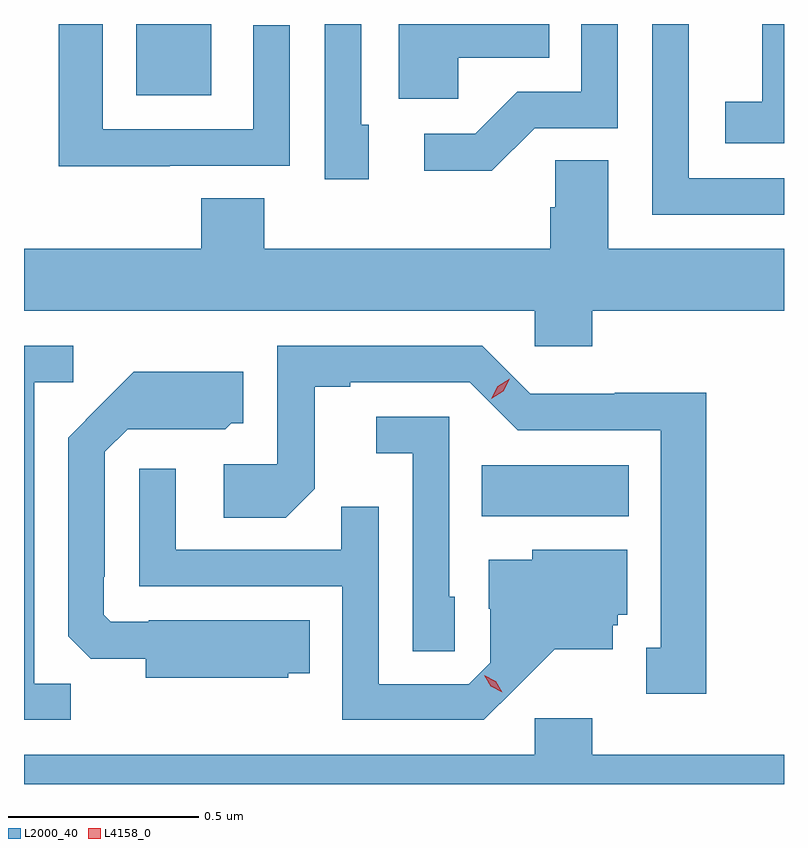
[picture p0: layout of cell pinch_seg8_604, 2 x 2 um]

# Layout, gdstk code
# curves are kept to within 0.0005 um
import gdstk
lib = gdstk.Library(unit=1e-6, precision=1e-09)
def R(c, l, rs):  # rectangles x0, y0, x1, y1
    for r in rs: c.add(gdstk.rectangle(r[:2], r[2:], *l))
def P(c, l, *ps):  # polygons
    for p in ps: c.add(gdstk.Polygon(p, *l))
L2000_40 = (2000, 40)
L4158_0 = (4158, 0)

pinch_seg8_604 = lib.new_cell('pinch_seg8_604')
R(pinch_seg8_604, L2000_40, [(144.25,1082.66,144.637,1082.794), (143.342,1083.767,143.539,1083.955)])
P(pinch_seg8_604, L2000_40, [(144.189,1083.866),(144.428,1083.866),(144.428,1083.955),(144.032,1083.955),(144.032,1083.758),(144.189,1083.758)],
  [(145.046,1083.549),(144.795,1083.549),(144.795,1083.955),(144.699,1083.955),(144.699,1083.453),(145.046,1083.453)],
  [(143.429,1083.582),(143.745,1083.582),(143.745,1083.952),(143.649,1083.952),(143.649,1083.678),(143.253,1083.678),(143.253,1083.955),(143.137,1083.955),(143.137,1083.581),(143.429,1083.581)],
  [(143.953,1083.69),(143.934,1083.69),(143.934,1083.955),(143.838,1083.955),(143.838,1083.546),(143.953,1083.546)],
  [(145.046,1083.955),(144.989,1083.955),(144.989,1083.751),(144.891,1083.751),(144.891,1083.641),(145.046,1083.641)],
  [(144.39,1083.681),(144.609,1083.681),(144.609,1083.955),(144.513,1083.955),(144.513,1083.777),(144.344,1083.777),(144.233,1083.666),(144.099,1083.666),(144.099,1083.569),(144.277,1083.569)],
  [(144.542,1083.2),(145.046,1083.2),(145.046,1083.364),(144.583,1083.364),(144.583,1083.596),(144.444,1083.596),(144.444,1083.473),(144.431,1083.473),(144.431,1083.364),(143.678,1083.364),(143.678,1083.497),(143.513,1083.497),(143.513,1083.364),(143.046,1083.364),(143.046,1083.2),(144.39,1083.2),(144.39,1083.107),(144.542,1083.107)],
  [(143.169,1082.219),(143.073,1082.219),(143.073,1083.012),(143.176,1083.012),(143.176,1083.108),(143.046,1083.108),(143.046,1082.124),(143.169,1082.124)],
  [(144.841,1082.984),(144.6,1082.984),(144.6,1082.982),(144.378,1082.982),(144.252,1083.108),(143.712,1083.108),(143.712,1082.796),(143.571,1082.796),(143.571,1082.656),(143.735,1082.656),(143.811,1082.732),(143.811,1083),(143.905,1083),(143.905,1083.012),(144.219,1083.012),(144.345,1082.886),(144.722,1082.886),(144.722,1082.313),(144.683,1082.313),(144.683,1082.193),(144.841,1082.193)],
  [(143.742,1082.246),(143.798,1082.246),(143.798,1082.386),(143.374,1082.386),(143.374,1082.382),(143.274,1082.382),(143.256,1082.4),(143.256,1082.5),(143.259,1082.5),(143.259,1082.829),(143.319,1082.889),(143.442,1082.889),(143.442,1082.888),(143.576,1082.888),(143.592,1082.904),(143.623,1082.904),(143.623,1083.04),(143.335,1083.04),(143.163,1082.866),(143.163,1082.344),(143.222,1082.285),(143.366,1082.285),(143.366,1082.234),(143.742,1082.234)],
  [(144.18,1082.448),(144.165,1082.448),(144.165,1082.922),(143.973,1082.922),(143.973,1082.825),(144.069,1082.825),(144.069,1082.305),(144.18,1082.305)],
  [(144.34,1082.207),(144.443,1082.309),(144.595,1082.309),(144.595,1082.373),(144.609,1082.373),(144.609,1082.4),(144.634,1082.4),(144.634,1082.572),(144.384,1082.572),(144.384,1082.545),(144.269,1082.545),(144.269,1082.416),(144.273,1082.416),(144.273,1082.274),(144.216,1082.217),(143.979,1082.217),(143.979,1082.684),(143.881,1082.684),(143.881,1082.571),(143.445,1082.571),(143.445,1082.785),(143.349,1082.785),(143.349,1082.475),(143.883,1082.475),(143.883,1082.124),(144.256,1082.124)],
  [(145.046,1082.032),(144.542,1082.032),(144.542,1082.128),(144.39,1082.128),(144.39,1082.032),(143.046,1082.032),(143.046,1081.955),(145.046,1081.955)])
P(pinch_seg8_604, L4158_0, [(144.275,1082.969),(144.275,1082.969),(144.293,1083.002),(144.324,1083.021),(144.324,1083.021),(144.324,1083.021),(144.307,1082.988),(144.276,1082.969)],
  [(144.305,1082.197),(144.274,1082.212),(144.257,1082.241),(144.257,1082.241),(144.257,1082.241),(144.288,1082.226),(144.305,1082.197),(144.305,1082.197)])

lib.write_gds('pinch_seg8_604.gds')
